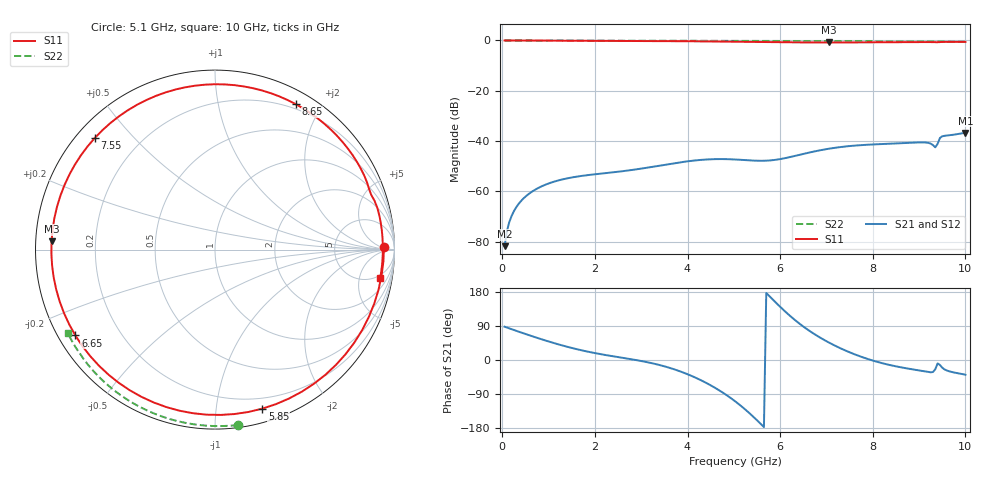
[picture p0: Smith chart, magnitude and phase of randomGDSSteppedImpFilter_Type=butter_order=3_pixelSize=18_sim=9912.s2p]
! freq	dB(S11)	phase(S11)	dB(S12)	phase(S12)
!  dB(S21)	phase(S21)	dB(S22)	phase(S22)
!S-par simulation data
#  GHz  S  DB  R 50
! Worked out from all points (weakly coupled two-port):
!   200 points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, 50 MHz to 10 GHz, reference 50 ohm
!   highest |S21| = -36.78 dB at 10 GHz (marker M1); lowest = -81.8 dB at 50 MHz (marker M2)
!   lowest |S11| = -0.8 dB at 7.05 GHz (marker M3), VSWR 21.68, Z = 2.31 + j1.24 ohm
!   |S11| at or under -10 dB: nowhere
!   |S22| runs from -0.5 to 0.0 dB; largest |S21 - S12| = 0
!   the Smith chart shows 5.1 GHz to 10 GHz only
!   S11 on the Smith chart (normalised r, x): 5.1 GHz: 31, +8; 5.85 GHz: 0.11, -1.34; 6.65 GHz: 0.05, -0.28; 7.55 GHz: 0.05, +0.39; 8.65 GHz: 0.15, +1.69; 10 GHz: 4, -10
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0.05  -0.00 -3.5  -81.81 87.8  -81.81 87.8  -0.00 -0.9
0.2  -0.02 -13.9  -69.82 81.3  -69.82 81.3  -0.00 -3.5
0.5  -0.05 -34.4  -62.11 68.6  -62.11 68.6  -0.01 -8.6
1.15  -0.09 -77.5  -55.97 43.4  -55.97 43.4  -0.03 -19.7
1.75  -0.13 -115.3  -53.78 24.6  -53.78 24.6  -0.04 -29.8
2.6  -0.18 -167.2  -51.99 5.7  -51.99 5.7  -0.06 -43.9
3.4  -0.25 141.5  -49.77 -13.4  -49.77 -13.4  -0.08 -56.7
4.25  -0.35 78.1  -47.56 -51.0  -47.56 -51.0  -0.10 -69.9
5.05  -0.51 5.8  -47.36 -111.0  -47.36 -111.0  -0.13 -81.8
5.1  -0.52 0.9  -47.42 -115.8  -47.42 -115.8  -0.13 -82.6
5.45  -0.60 -33.7  -47.81 -153.1  -47.81 -153.1  -0.14 -87.7
5.85  -0.68 -73.4  -47.59 158.4  -47.59 158.4  -0.16 -93.4
6.2  -0.74 -107.2  -46.43 117.9  -46.43 117.9  -0.18 -98.4
6.65  -0.79 -148.4  -44.49 75.5  -44.49 75.5  -0.20 -104.7
6.7  -0.79 -152.9  -44.29 71.4  -44.29 71.4  -0.21 -105.4
7.05  -0.80 177.2  -43.06 46.2  -43.06 46.2  -0.23 -110.2
7.55  -0.78 137.1  -41.91 17.8  -41.91 17.8  -0.26 -117.1
8.35  -0.69 80.0  -41.08 -12.8  -41.08 -12.8  -0.33 -127.9
8.65  -0.66 60.9  -40.84 -20.3  -40.84 -20.3  -0.36 -131.9
9.35  -0.70 21.4  -42.50 -24.4  -42.50 -24.4  -0.44 -141.4
9.5  -0.59 14.3  -38.11 -20.3  -38.11 -20.3  -0.45 -143.4
10  -0.59 -9.6  -36.78 -39.0  -36.78 -39.0  -0.51 -150.3
